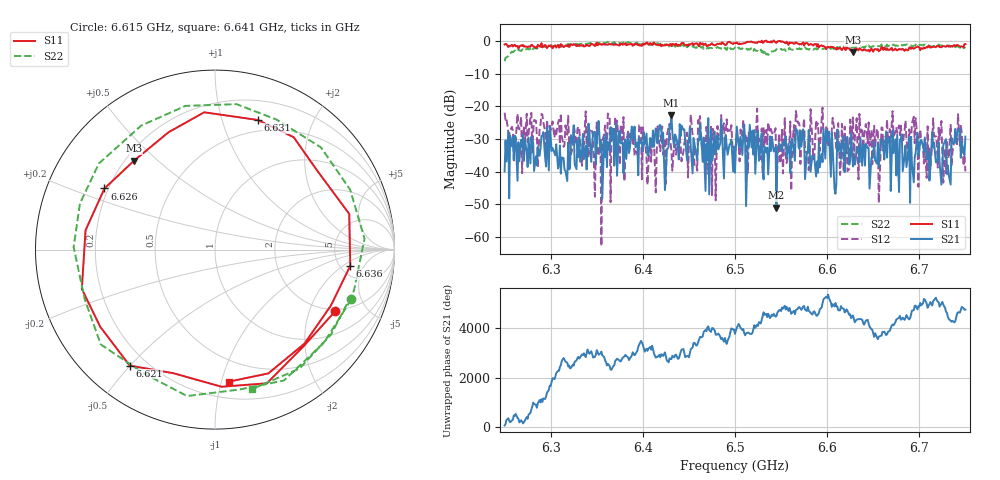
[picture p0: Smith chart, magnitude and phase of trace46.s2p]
# Hz S RI R 50
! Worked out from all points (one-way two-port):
!   401 points, 6.25 GHz to 6.75 GHz, reference 50 ohm
!   highest |S21| = -22.63 dB at 6.431 GHz (marker M1); lowest = -51.1 dB at 6.545 GHz (marker M2)
!   lowest |S11| = -3.5 dB at 6.628 GHz (marker M3), VSWR 5.06, Z = 11.7 + j21.1 ohm
!   |S11| at or under -10 dB: nowhere
!   |S22| runs from -6.2 to -0.3 dB; largest |S21 - S12| = 0.13
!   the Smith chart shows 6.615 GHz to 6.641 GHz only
!   S11 on the Smith chart (normalised r, x): 6.615 GHz: 1.92, -3.03; 6.621 GHz: 0.14, -0.50; 6.626 GHz: 0.19, +0.25; 6.631 GHz: 0.38, +1.31; 6.636 GHz: 6.15, -2.62; 6.641 GHz: 0.32, -1.05
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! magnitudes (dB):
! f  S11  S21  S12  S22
! 6.25 GHz  -1.0  -39.9  -21.9  -6.2
! 6.334 GHz  -1.4  -33.9  -38.2  -0.8
! 6.354 GHz  -0.9  -33.9  -30.3  -0.9
! 6.361 GHz  -1.1  -38.6  -33.5  -0.3
! 6.418 GHz  -1.3  -25.8  -31.7  -1.0
! 6.425 GHz  -1.3  -40.4  -43.7  -1.0
! 6.431 GHz  -1.5  -22.6  -33.6  -1.2
! 6.494 GHz  -0.2  -31.7  -27.2  -2.6
! 6.5 GHz  -0.7  -40.3  -38.0  -2.0
! 6.545 GHz  -0.5  -51.1  -43.9  -2.5
! 6.584 GHz  -1.2  -35.1  -30.5  -2.4
! 6.615 GHz  -2.5  -36.1  -36.3  -1.8
! 6.621 GHz  -1.9  -31.3  -29.0  -2.0
! 6.626 GHz  -3.1  -28.4  -31.8  -2.0
! 6.628 GHz  -3.5  -38.4  -23.4  -1.9
! 6.631 GHz  -2.4  -36.5  -27.9  -1.7
! 6.636 GHz  -2.4  -29.5  -27.9  -1.6
! 6.641 GHz  -2.6  -38.1  -27.0  -1.9
! 6.668 GHz  -2.7  -29.5  -27.0  -1.3
! 6.728 GHz  -1.6  -30.5  -33.0  -1.5
! 6.744 GHz  -1.6  -26.8  -32.0  -1.9
! 6.75 GHz  -0.9  -29.2  -39.9  -2.2
